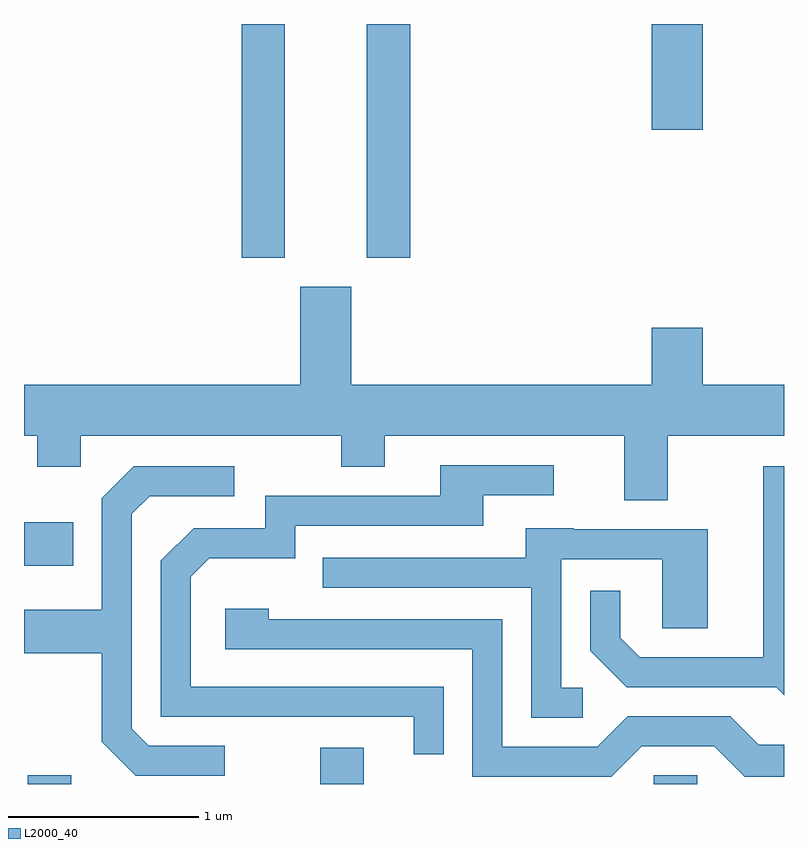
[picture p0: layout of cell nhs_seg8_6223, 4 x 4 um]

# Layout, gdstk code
import gdstk
lib = gdstk.Library(unit=1e-6, precision=1e-09)
def R(c, l, rs):  # rectangles x0, y0, x1, y1
    for r in rs: c.add(gdstk.rectangle(r[:2], r[2:], *l))
def P(c, l, *ps):  # polygons
    for p in ps: c.add(gdstk.Polygon(p, *l))
L2000_40 = (2000, 40)

nhs_seg8_6223 = lib.new_cell('nhs_seg8_6223')
R(nhs_seg8_6223, L2000_40, [(371.631,1852.342,371.859,1852.389), (373.171,1852.342,373.399,1852.534), (374.926,1852.342,375.154,1852.389), (371.611,1853.491,371.869,1853.719), (372.756,1855.111,372.984,1856.342), (373.416,1855.111,373.644,1856.342), (374.916,1855.786,375.184,1856.342)])
P(nhs_seg8_6223, L2000_40, [(374.999,1854.176),(375.611,1854.176),(375.611,1854.444),(375.184,1854.444),(375.184,1854.744),(374.916,1854.744),(374.916,1854.444),(373.334,1854.444),(373.334,1854.959),(373.066,1854.959),(373.066,1854.444),(371.611,1854.444),(371.611,1854.176),(371.681,1854.176),(371.681,1854.011),(371.909,1854.011),(371.909,1854.176),(373.281,1854.176),(373.281,1854.011),(373.509,1854.011),(373.509,1854.176),(374.771,1854.176),(374.771,1853.836),(374.999,1853.836)],
  [(373.819,1852.854),(372.489,1852.854),(372.489,1853.434),(372.587,1853.531),(373.039,1853.531),(373.039,1853.701),(374.029,1853.701),(374.029,1853.861),(374.398,1853.861),(374.398,1854.019),(373.801,1854.019),(373.801,1853.859),(372.881,1853.859),(372.881,1853.689),(372.504,1853.689),(372.331,1853.517),(372.331,1852.696),(373.661,1852.696),(373.661,1852.498),(373.819,1852.498)],
  [(372.668,1852.544),(372.267,1852.544),(372.179,1852.632),(372.179,1853.764),(372.272,1853.856),(372.718,1853.856),(372.718,1854.014),(372.189,1854.014),(372.021,1853.847),(372.021,1853.259),(371.611,1853.259),(371.611,1853.031),(372.021,1853.031),(372.021,1852.564),(372.199,1852.386),(372.668,1852.386)],
  [(375.611,1854.014),(375.501,1854.014),(375.501,1853.009),(374.852,1853.009),(374.749,1853.112),(374.749,1853.358),(374.591,1853.358),(374.591,1853.044),(374.784,1852.851),(375.569,1852.851),(375.611,1852.809)],
  [(374.553,1852.849),(374.439,1852.849),(374.439,1853.526),(374.971,1853.526),(374.971,1853.161),(375.209,1853.161),(375.209,1853.684),(374.505,1853.684),(374.505,1853.689),(374.251,1853.689),(374.251,1853.534),(373.183,1853.534),(373.183,1853.376),(374.281,1853.376),(374.281,1852.691),(374.553,1852.691)],
  [(374.862,1852.541),(375.244,1852.541),(375.404,1852.381),(375.611,1852.381),(375.611,1852.549),(375.477,1852.549),(375.327,1852.699),(374.789,1852.699),(374.629,1852.539),(374.129,1852.539),(374.129,1853.209),(372.899,1853.209),(372.899,1853.264),(372.671,1853.264),(372.671,1853.051),(373.971,1853.051),(373.971,1852.381),(374.702,1852.381)])

lib.write_gds('nhs_seg8_6223.gds')
